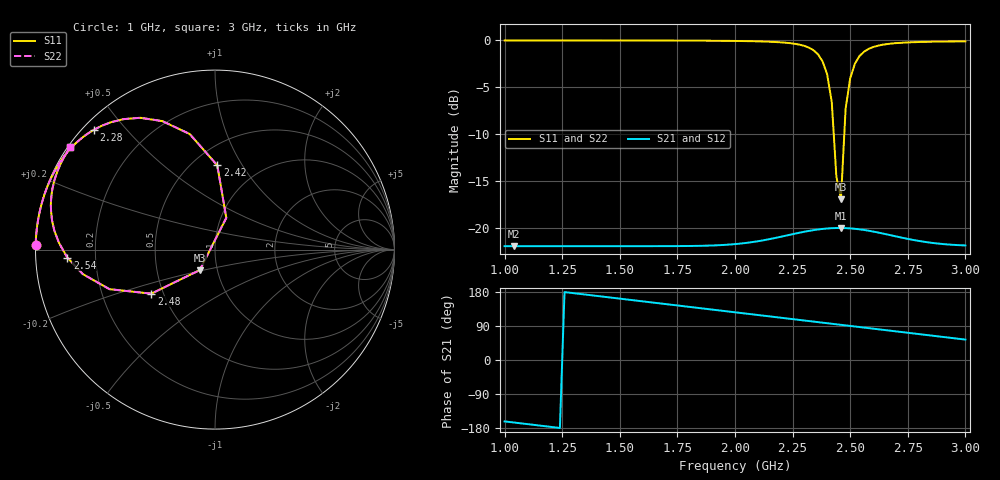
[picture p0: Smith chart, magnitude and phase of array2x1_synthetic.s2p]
! 2-port fixture (synthetic array data), Touchstone v1
# GHz S MA R 50
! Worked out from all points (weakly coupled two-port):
!   101 points, 1 GHz to 3 GHz, reference 50 ohm
!   highest |S21| = -20.00 dB at 2.46 GHz (marker M1); lowest = -21.9 dB at 1.04 GHz (marker M2)
!   lowest |S11| = -16.9 dB at 2.46 GHz (marker M3), VSWR 1.33, Z = 41.1 - j9.6 ohm
!   |S11| at or under -10 dB: 2.429 GHz to 2.474 GHz (45.75 MHz wide, 1.87 % of centre)
!   |S22| runs from -16.9 to 0.0 dB; largest |S21 - S12| = 0
!   S11 on the Smith chart (normalised r, x): 1 GHz: 0.00, +0.01; 2.28 GHz: 0.03, +0.41; 2.42 GHz: 0.65, +0.79; 2.48 GHz: 0.43, -0.26; 2.54 GHz: 0.10, -0.03; 3 GHz: 0.01, +0.32
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1  0.9994 178.5  0.08 -162.0  0.08 -162.0  0.9994 178.5
1.04  0.9995 177.4  0.08 -164.9  0.08 -164.9  0.9995 177.4
1.34  0.9994 169.8  0.08 173.5  0.08 173.5  0.9994 169.8
1.68  0.9983 161.6  0.08003 149.0  0.08003 149.0  0.9983 161.6
2  0.9934 152.4  0.08206 125.9  0.08206 125.9  0.9934 152.4
2.18  0.9799 144.1  0.08876 112.9  0.08876 112.9  0.9799 144.1
2.28  0.949 135.3  0.09437 105.7  0.09437 105.7  0.949 135.3
2.34  0.8877 125.0  0.09738 101.4  0.09738 101.4  0.8877 125.0
2.38  0.7738 112.3  0.09887 98.5  0.09887 98.5  0.7738 112.3
2.4  0.6592 102.3  0.0994 97.1  0.0994 97.1  0.6592 102.3
2.42  0.4698 88.5  0.09977 95.6  0.09977 95.6  0.4698 88.5
2.44  0.1879 70.4  0.09997 94.2  0.09997 94.2  0.1879 70.4
2.46  0.1425 -126.7  0.09999 92.8  0.09999 92.8  0.1425 -126.7
2.48  0.4315 -145.3  0.09983 91.3  0.09983 91.3  0.4315 -145.3
2.5  0.6279 -159.4  0.09951 89.9  0.09951 89.9  0.6279 -159.4
2.52  0.749 -169.5  0.09901 88.4  0.09901 88.4  0.749 -169.5
2.54  0.8242 -176.9  0.09837 87.0  0.09837 87.0  0.8242 -176.9
2.56  0.8701 177.5  0.09759 85.6  0.09759 85.6  0.8701 177.5
2.6  0.9225 169.8  0.09571 82.7  0.09571 82.7  0.9225 169.8
2.68  0.9622 161.0  0.09125 76.9  0.09125 76.9  0.9622 161.0
2.8  0.9809 153.3  0.08523 68.3  0.08523 68.3  0.9809 153.3
3  0.988 144.8  0.08072 53.9  0.08072 53.9  0.988 144.8
